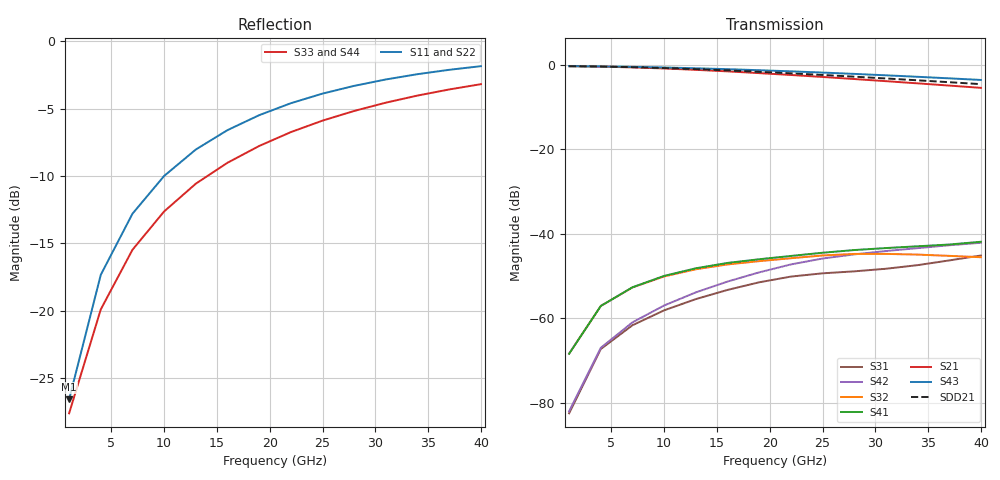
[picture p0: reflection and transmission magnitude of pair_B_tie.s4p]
! compare.py: results/pair_B.s5p with port 5 (the tie) shorted
# GHz S RI R 50
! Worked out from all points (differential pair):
!   14 points, 1 GHz to 40 GHz, reference 50 ohm
!   strongest paths, dB at 1 GHz, 10 GHz, 22 GHz, 31 GHz, 40 GHz:
!     S43: -0.3, -0.6, -1.5, -2.5, -3.6
!     S21: -0.3, -0.9, -2.4, -3.9, -5.5
!     S41: -68.4, -50.0, -45.3, -43.4, -41.9
!     S32: -68.4, -50.1, -45.8, -44.8, -45.6
!     S42: -82.1, -57.0, -47.3, -44.1, -42.1
!     S31: -82.5, -58.1, -50.2, -48.3, -45.2
!   taken as a pair (ports 3,1 in; 4,2 out), SDD21 dB: -0.3, -0.8, -2.0, -3.2, -4.6
!   lowest |S11| = -26.6 dB at 1 GHz (marker M1), VSWR 1.10, Z = 53.6 + j3.31 ohm
!   |S11| at or under -10 dB: start of sweep to 9.998 GHz
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1  0.0353 0.0309  0.9622 -0.0405  -2.25e-05 -7.13e-05  -4.11e-05 0.000377
   0.9622 -0.0405  0.0353 0.0309  -5.03e-05 0.000377  -2.56e-05 -7.46e-05
   -2.25e-05 -7.13e-05  -5.03e-05 0.000377  0.0351 0.0223  0.9635 -0.0288
   -4.11e-05 0.000377  -2.56e-05 -7.46e-05  0.9635 -0.0288  0.0352 0.0224
4  0.0544 0.1246  0.9394 -0.1531  -0.000108 -0.000417  0.000333 0.00135
   0.9394 -0.1531  0.0544 0.1248  0.000198 0.00138  -0.000164 -0.000414
   -0.000108 -0.000417  0.000198 0.00138  0.0454 0.0904  0.9509 -0.1102
   0.000333 0.00135  -0.000164 -0.000414  0.9509 -0.1102  0.0455 0.0905
7  0.0959 0.208  0.8967 -0.2557  -0.000461 -0.000684  0.000922 0.00213
   0.8967 -0.2557  0.096 0.2083  0.000536 0.00225  -0.000619 -0.000643
   -0.000461 -0.000684  0.000536 0.00225  0.0682 0.1539  0.9273 -0.187
   0.000922 0.00213  -0.000619 -0.000643  0.9273 -0.187  0.0685 0.154
13  0.2223 0.3282  0.7672 -0.4156  -0.00151 -0.000738  0.00258 0.00292
    0.7672 -0.4156  0.2223 0.3287  0.0014 0.00353  -0.00196 -0.000472
    -0.00151 -0.000738  0.0014 0.00353  0.1417 0.2599  0.852 -0.3206
    0.00258 0.00292  -0.00196 -0.000472  0.852 -0.3206  0.1427 0.2599
19  0.3702 0.3814  0.614 -0.5091  -0.00265 -0.000198  0.00426 0.0026
    0.614 -0.5091  0.3698 0.3822  0.00209 0.00425  -0.00345 0.00052
    -0.00265 -0.000198  0.00209 0.00425  0.2369 0.3328  0.7537 -0.4212
    0.00426 0.0026  -0.00345 0.00052  0.7537 -0.4212  0.2386 0.3322
25  0.5139 0.3796  0.4641 -0.5484  -0.00331 0.000774  0.00576 0.0015
    0.4641 -0.5484  0.513 0.3816  0.00254 0.00491  -0.0045 0.00236
    -0.00331 0.000774  0.00254 0.00491  0.3431 0.3737  0.6441 -0.4907
    0.00576 0.0015  -0.0045 0.00236  0.6441 -0.4907  0.3457 0.3723
40  0.7767 0.2219  0.1726 -0.5053  -0.00546 0.000778  0.00532 -0.00602
    0.1726 -0.5053  0.7784 0.2284  0.00176 0.00497  -0.00532 0.00572
    -0.00546 0.000778  0.00176 0.00497  0.5965 0.3521  0.3729 -0.5469
    0.00532 -0.00602  -0.00532 0.00572  0.3729 -0.5469  0.6013 0.3466
